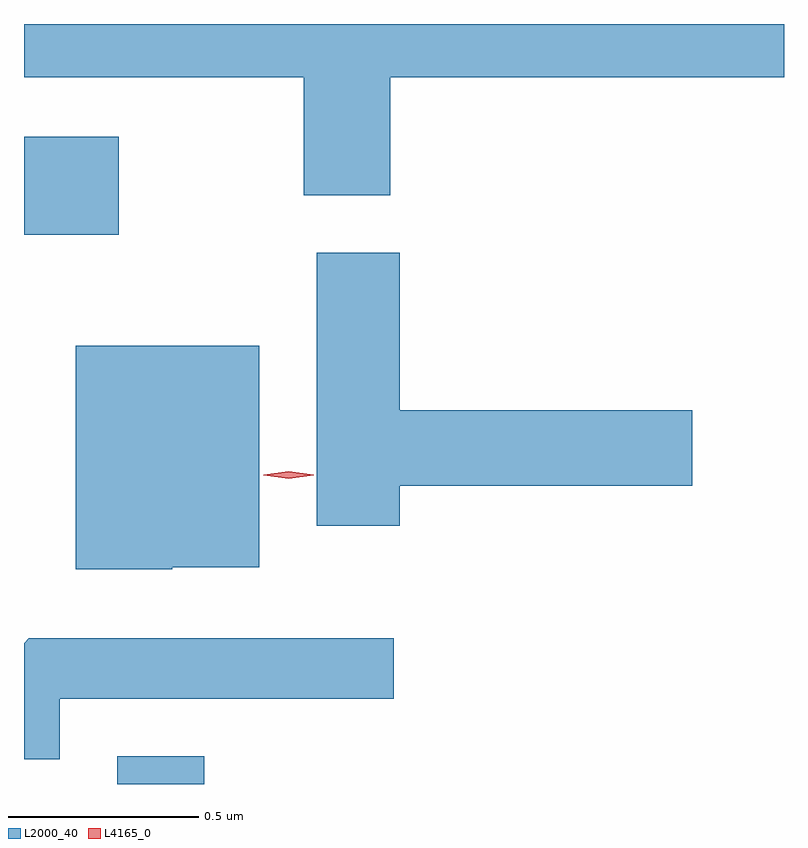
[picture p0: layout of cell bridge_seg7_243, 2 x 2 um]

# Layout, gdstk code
import gdstk
lib = gdstk.Library(unit=1e-6, precision=1e-09)
def R(c, l, rs):  # rectangles x0, y0, x1, y1
    for r in rs: c.add(gdstk.rectangle(r[:2], r[2:], *l))
def P(c, l, *ps):  # polygons
    for p in ps: c.add(gdstk.Polygon(p, *l))
L2000_40 = (2000, 40)
L4165_0 = (4165, 0)

bridge_seg7_243 = lib.new_cell('bridge_seg7_243')
R(bridge_seg7_243, L2000_40, [(1802.791,1694.696,1803.019,1694.769), (1802.545,1696.141,1802.794,1696.399)])
P(bridge_seg7_243, L2000_40, [(1803.509,1696.556),(1804.545,1696.556),(1804.545,1696.696),(1802.545,1696.696),(1802.545,1696.556),(1803.281,1696.556),(1803.281,1696.246),(1803.509,1696.246)],
  [(1803.534,1695.481),(1804.304,1695.481),(1804.304,1695.679),(1803.534,1695.679),(1803.534,1696.094),(1803.316,1696.094),(1803.316,1695.376),(1803.534,1695.376)],
  [(1802.935,1695.266),(1803.164,1695.266),(1803.164,1695.849),(1802.681,1695.849),(1802.681,1695.261),(1802.935,1695.261)],
  [(1802.639,1694.921),(1803.518,1694.921),(1803.518,1695.079),(1802.557,1695.079),(1802.545,1695.067),(1802.545,1694.761),(1802.639,1694.761)])
P(bridge_seg7_243, L4165_0, [(1803.242,1695.499),(1803.176,1695.508),(1803.175,1695.509),(1803.176,1695.51),(1803.242,1695.519),(1803.308,1695.51),(1803.308,1695.509),(1803.308,1695.508)])

lib.write_gds('bridge_seg7_243.gds')
